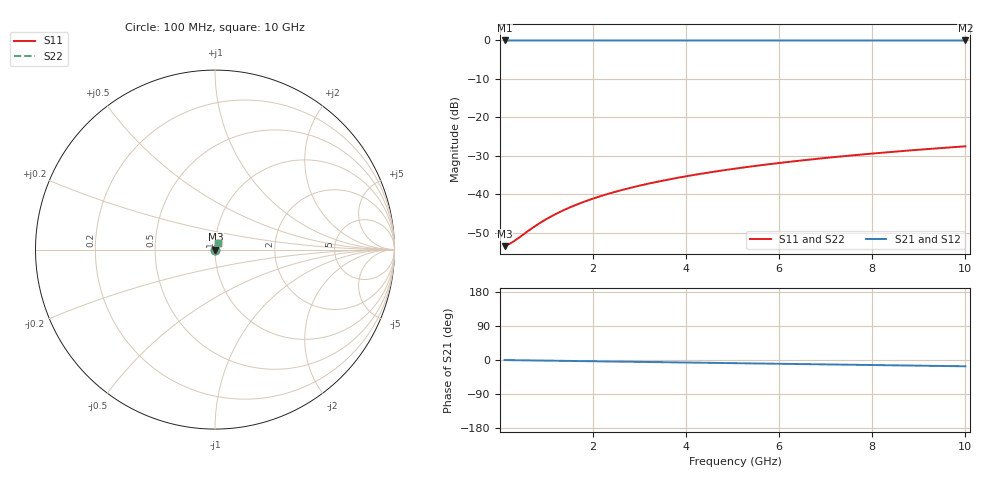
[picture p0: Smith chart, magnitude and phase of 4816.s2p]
# Hz S RI R 50.00
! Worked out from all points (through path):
!   100 points, 100 MHz to 10 GHz, reference 50 ohm
!   highest |S21| = -0.02 dB at 100 MHz (marker M1); lowest = 0.0 dB at 10 GHz (marker M2)
!   group delay of S21, straight-line fit = 4.61 ps
!   lowest |S11| = -53.5 dB at 100 MHz (marker M3), VSWR 1.00, Z = 50.2 + j0.0421 ohm
!   |S11| at or under -10 dB: start of sweep to end of sweep
!   |S22| runs from -53.5 to -27.5 dB; largest |S21 - S12| = 0
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1e8  0.00207 0.00042  0.9979 -0.00288  0.9979 -0.00288  0.00207 0.00042
2e8  0.00209 0.000839  0.9979 -0.00577  0.9979 -0.00577  0.00209 0.000839
3e8  0.0021 0.00126  0.9979 -0.00865  0.9979 -0.00865  0.0021 0.00126
7e8  0.00217 0.00294  0.9977 -0.0202  0.9977 -0.0202  0.00217 0.00294
8e8  0.00219 0.00335  0.9976 -0.0231  0.9976 -0.0231  0.00219 0.00335
1e9  0.00225 0.00419  0.9974 -0.0288  0.9974 -0.0288  0.00225 0.00419
1.2e9  0.00231 0.00503  0.9972 -0.0346  0.9972 -0.0346  0.00231 0.00503
1.4e9  0.00237 0.00586  0.997 -0.0404  0.997 -0.0404  0.00237 0.00586
1.6e9  0.00245 0.0067  0.9967 -0.0461  0.9967 -0.0461  0.00245 0.0067
1.8e9  0.00254 0.00753  0.9964 -0.0519  0.9964 -0.0519  0.00254 0.00753
2.1e9  0.00269 0.00878  0.9959 -0.0605  0.9959 -0.0605  0.00269 0.00878
2.5e9  0.00292 0.0104  0.9951 -0.0721  0.9951 -0.0721  0.00292 0.0104
2.9e9  0.00318 0.0121  0.9942 -0.0836  0.9942 -0.0836  0.00318 0.0121
3.4e9  0.00357 0.0142  0.9928 -0.0979  0.9928 -0.0979  0.00357 0.0142
3.8e9  0.00393 0.0158  0.9916 -0.1094  0.9916 -0.1094  0.00393 0.0158
4.2e9  0.00432 0.0174  0.9902 -0.1209  0.9902 -0.1209  0.00432 0.0174
5.1e9  0.00533 0.021  0.9866 -0.1467  0.9866 -0.1467  0.00533 0.021
5.9e9  0.0064 0.0242  0.9828 -0.1695  0.9828 -0.1695  0.0064 0.0242
6.7e9  0.0076 0.0273  0.9785 -0.1922  0.9785 -0.1922  0.0076 0.0273
7.5e9  0.00896 0.0304  0.9737 -0.2149  0.9737 -0.2149  0.00896 0.0304
8.4e9  0.0107 0.0338  0.9676 -0.2402  0.9676 -0.2402  0.0107 0.0338
1e10  0.0141 0.0395  0.9551 -0.2849  0.9551 -0.2849  0.0141 0.0395
